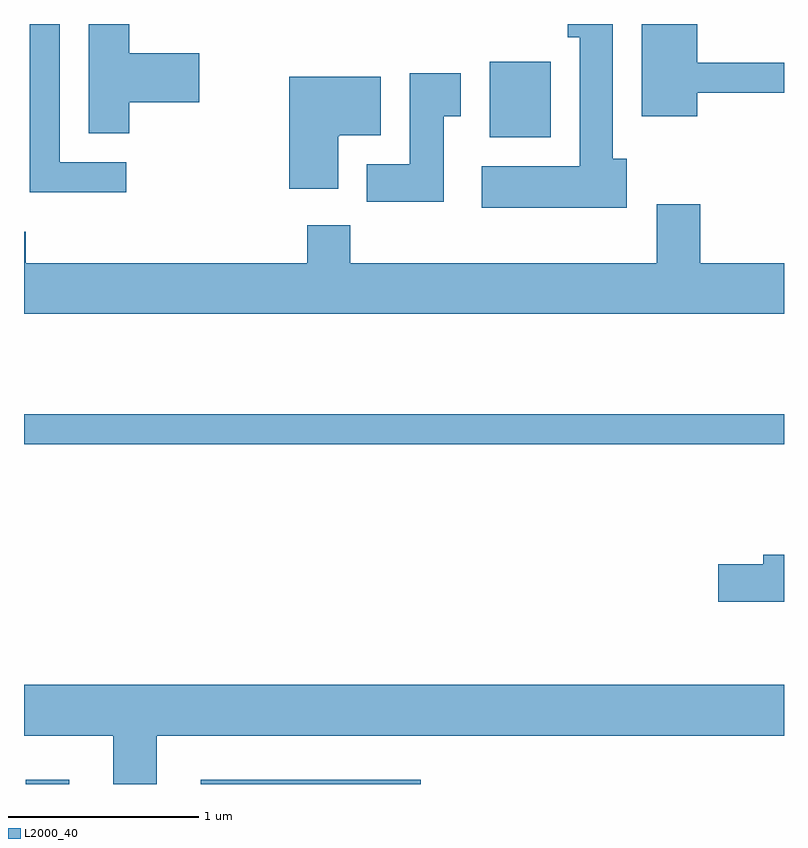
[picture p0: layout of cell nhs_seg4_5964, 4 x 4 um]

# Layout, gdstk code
import gdstk
lib = gdstk.Library(unit=1e-6, precision=1e-09)
def R(c, l, rs):  # rectangles x0, y0, x1, y1
    for r in rs: c.add(gdstk.rectangle(r[:2], r[2:], *l))
def P(c, l, *ps):  # polygons
    for p in ps: c.add(gdstk.Polygon(p, *l))
L2000_40 = (2000, 40)

nhs_seg4_5964 = lib.new_cell('nhs_seg4_5964')
R(nhs_seg4_5964, L2000_40, [(359.621,1349.982,359.849,1350.004), (360.541,1349.982,361.698,1350.004), (359.611,1351.771,363.611,1351.929), (362.061,1353.386,362.384,1353.784)])
P(nhs_seg4_5964, L2000_40, [(360.148,1353.254),(359.799,1353.254),(359.799,1353.982),(359.641,1353.982),(359.641,1353.096),(360.148,1353.096)],
  [(362.784,1353.274),(362.709,1353.274),(362.709,1353.982),(362.473,1353.982),(362.473,1353.911),(362.536,1353.911),(362.536,1353.234),(362.021,1353.234),(362.021,1353.016),(362.784,1353.016)],
  [(363.154,1353.621),(363.611,1353.621),(363.611,1353.779),(363.154,1353.779),(363.154,1353.982),(362.861,1353.982),(362.861,1353.496),(363.154,1353.496)],
  [(360.164,1353.571),(360.534,1353.571),(360.534,1353.829),(360.164,1353.829),(360.164,1353.982),(359.951,1353.982),(359.951,1353.406),(360.164,1353.406)],
  [(361.819,1353.496),(361.909,1353.496),(361.909,1353.724),(361.641,1353.724),(361.641,1353.244),(361.416,1353.244),(361.416,1353.046),(361.819,1353.046)],
  [(361.264,1353.39),(361.27,1353.39),(361.27,1353.396),(361.489,1353.396),(361.489,1353.704),(361.006,1353.704),(361.006,1353.116),(361.264,1353.116)],
  [(363.611,1352.724),(363.169,1352.724),(363.169,1353.034),(362.941,1353.034),(362.941,1352.724),(361.329,1352.724),(361.329,1352.924),(361.101,1352.924),(361.101,1352.724),(359.619,1352.724),(359.619,1352.889),(359.611,1352.889),(359.611,1352.456),(363.611,1352.456)],
  [(363.611,1351.189),(363.501,1351.189),(363.501,1351.139),(363.266,1351.139),(363.266,1350.941),(363.611,1350.941)],
  [(360.309,1350.236),(363.611,1350.236),(363.611,1350.504),(359.611,1350.504),(359.611,1350.236),(360.081,1350.236),(360.081,1349.982),(360.309,1349.982)])

lib.write_gds('nhs_seg4_5964.gds')
